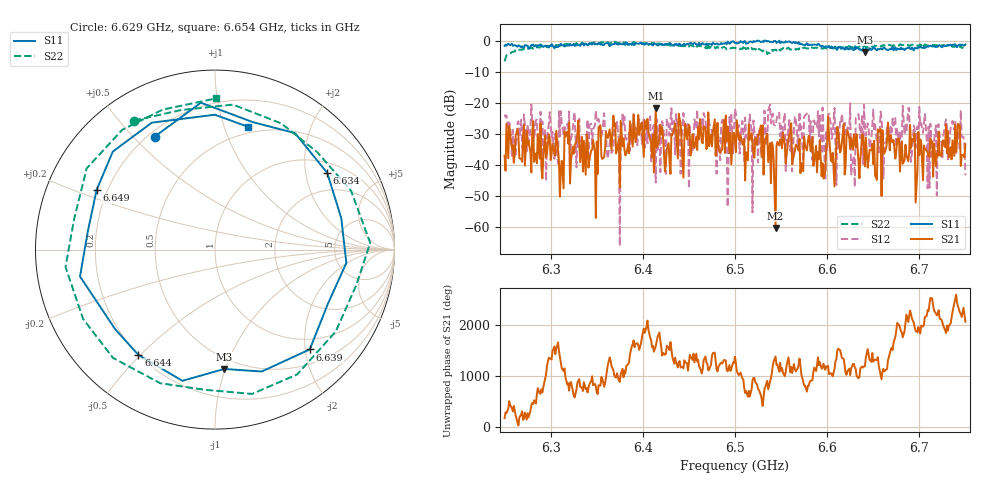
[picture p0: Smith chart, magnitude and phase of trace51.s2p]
# Hz S RI R 50
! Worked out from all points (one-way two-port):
!   401 points, 6.25 GHz to 6.75 GHz, reference 50 ohm
!   highest |S21| = -21.61 dB at 6.414 GHz (marker M1); lowest = -60.4 dB at 6.544 GHz (marker M2)
!   lowest |S11| = -3.5 dB at 6.641 GHz (marker M3), VSWR 5.01, Z = 20.7 - j49.6 ohm
!   |S11| at or under -10 dB: nowhere
!   |S22| runs from -6.5 to -0.2 dB; largest |S21 - S12| = 0.13
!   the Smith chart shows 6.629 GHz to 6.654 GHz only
!   S11 on the Smith chart (normalised r, x): 6.629 GHz: 0.23, +0.58; 6.634 GHz: 1.32, +2.65; 6.639 GHz: 0.77, -2.09; 6.644 GHz: 0.20, -0.49; 6.649 GHz: 0.16, +0.23; 6.654 GHz: 0.44, +1.21
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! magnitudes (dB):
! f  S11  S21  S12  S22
! 6.25 GHz  -1.6  -37.0  -23.7  -6.5
! 6.26 GHz  -1.4  -39.3  -39.0  -3.4
! 6.281 GHz  -1.1  -25.9  -25.6  -2.5
! 6.334 GHz  -0.7  -30.9  -32.6  -0.5
! 6.414 GHz  -1.0  -21.6  -45.7  -1.2
! 6.418 GHz  -1.1  -31.5  -27.1  -0.8
! 6.5 GHz  -0.7  -32.5  -21.8  -2.1
! 6.544 GHz  0.0  -60.4  -27.4  -2.8
! 6.584 GHz  -1.3  -31.0  -38.4  -2.1
! 6.622 GHz  -2.3  -28.8  -27.8  -1.9
! 6.629 GHz  -2.9  -30.0  -37.0  -1.4
! 6.634 GHz  -2.4  -38.9  -23.6  -2.1
! 6.639 GHz  -2.3  -30.3  -39.7  -1.8
! 6.641 GHz  -3.5  -40.4  -27.5  -1.6
! 6.644 GHz  -2.8  -40.9  -26.5  -1.9
! 6.649 GHz  -2.6  -33.2  -27.1  -1.9
! 6.654 GHz  -3.0  -44.8  -32.7  -1.5
! 6.668 GHz  -2.7  -35.3  -35.3  -1.3
! 6.702 GHz  -2.1  -32.4  -26.6  -1.5
! 6.711 GHz  -1.6  -37.3  -47.3  -1.4
! 6.736 GHz  -1.2  -32.0  -25.8  -1.9
! 6.75 GHz  -1.1  -33.3  -43.4  -2.2
